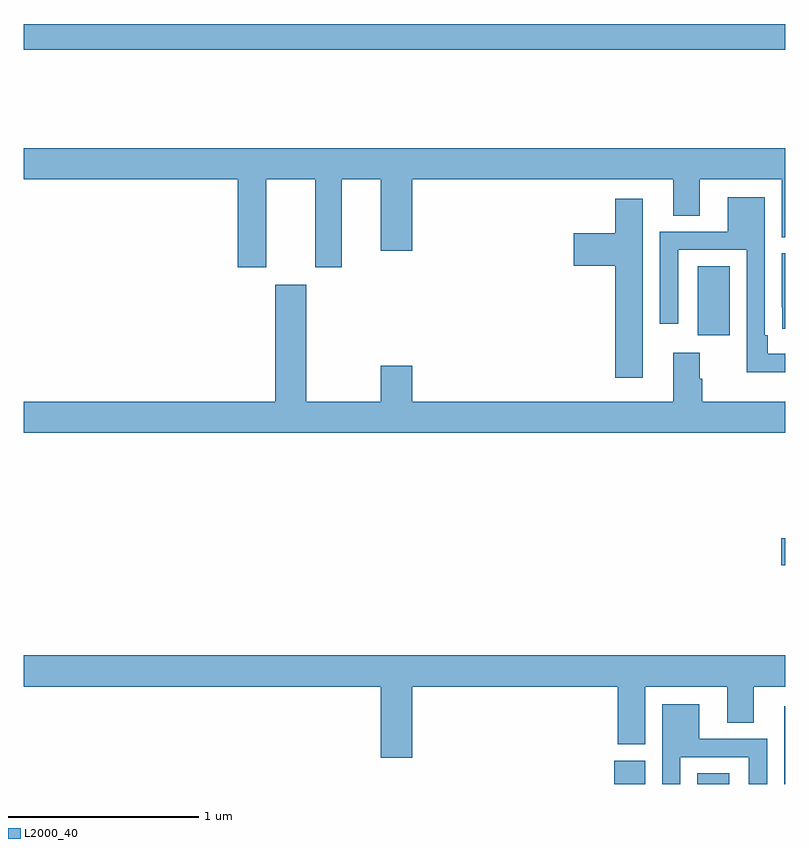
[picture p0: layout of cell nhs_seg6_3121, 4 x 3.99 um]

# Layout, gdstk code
import gdstk
lib = gdstk.Library(unit=1e-6, precision=1e-09)
def R(c, l, rs):  # rectangles x0, y0, x1, y1
    for r in rs: c.add(gdstk.rectangle(r[:2], r[2:], *l))
def P(c, l, *ps):  # polygons
    for p in ps: c.add(gdstk.Polygon(p, *l))
L2000_40 = (2000, 40)

nhs_seg6_3121 = lib.new_cell('nhs_seg6_3121')
R(nhs_seg6_3121, L2000_40, [(298.103,937.5,298.264,937.623), (298.538,937.5,298.705,937.556), (298.994,937.5,299,937.909), (298.98,938.65,299,938.792), (298.541,939.858,298.708,940.22), (295,941.356,299,941.492)])
P(nhs_seg6_3121, L2000_40, [(296.275,940.676),(296.531,940.676),(296.531,940.215),(296.671,940.215),(296.671,940.676),(296.876,940.676),(296.876,940.302),(297.04,940.302),(297.04,940.676),(298.412,940.676),(298.412,940.486),(298.552,940.486),(298.552,940.676),(298.982,940.676),(298.982,940.372),(299,940.372),(299,940.84),(295,940.84),(295,940.676),(296.123,940.676),(296.123,940.215),(296.275,940.215)],
  [(299,939.76),(298.909,939.76),(298.909,939.856),(298.893,939.856),(298.893,940.582),(298.697,940.582),(298.697,940.401),(298.341,940.401),(298.341,939.918),(298.437,939.918),(298.437,940.305),(298.797,940.305),(298.797,939.662),(299,939.662)],
  [(298.252,940.573),(298.106,940.573),(298.106,940.393),(297.888,940.393),(297.888,940.223),(298.106,940.223),(298.106,939.633),(298.252,939.633)],
  [(299,940.287),(298.982,940.287),(298.982,940.003),(298.983,940.003),(298.983,939.891),(299,939.891)],
  [(299,939.508),(298.565,939.508),(298.565,939.629),(298.552,939.629),(298.552,939.766),(298.412,939.766),(298.412,939.508),(297.04,939.508),(297.04,939.697),(296.876,939.697),(296.876,939.508),(296.485,939.508),(296.485,940.123),(296.321,940.123),(296.321,939.508),(295,939.508),(295,939.344),(299,939.344)],
  [(297.04,938.012),(298.121,938.012),(298.121,937.708),(298.264,937.708),(298.264,938.012),(298.694,938.012),(298.694,937.822),(298.834,937.822),(298.834,938.012),(299,938.012),(299,938.176),(295,938.176),(295,938.012),(296.876,938.012),(296.876,937.638),(297.04,937.638)],
  [(298.449,937.641),(298.809,937.641),(298.809,937.5),(298.905,937.5),(298.905,937.737),(298.549,937.737),(298.549,937.918),(298.353,937.918),(298.353,937.5),(298.449,937.5)])

lib.write_gds('nhs_seg6_3121.gds')
